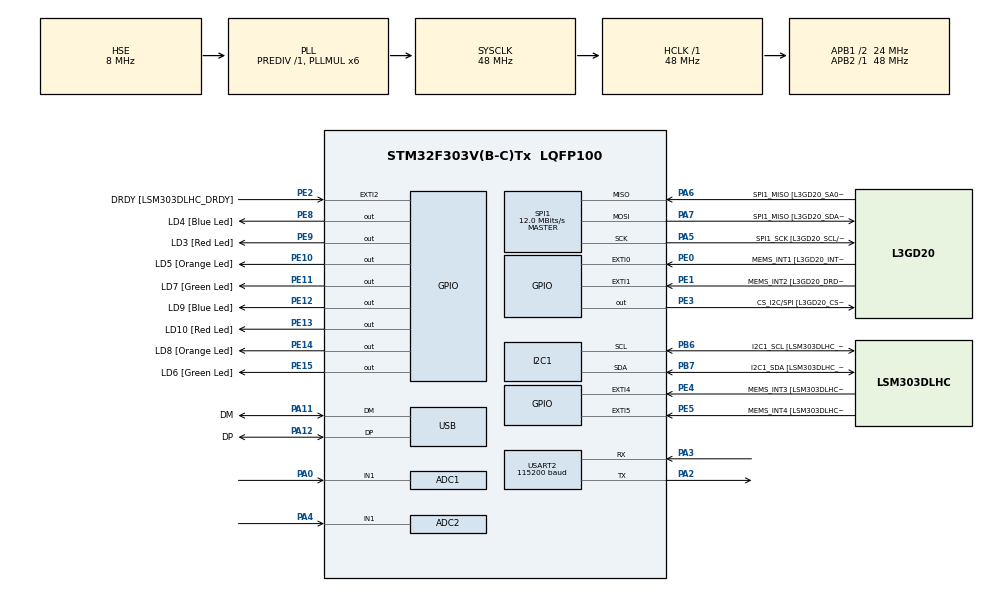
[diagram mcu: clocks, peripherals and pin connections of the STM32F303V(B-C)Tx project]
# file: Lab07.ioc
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ADC1.Channel-1\#ChannelRegularConversion=ADC_CHANNEL_1
ADC1.ContinuousConvMode=ENABLE
ADC1.NbrOfConversionFlag=1
ADC1.Offset-1\#ChannelRegularConversion=0
ADC1.OffsetNumber-1\#ChannelRegularConversion=ADC_OFFSET_NONE
ADC1.Rank-1\#ChannelRegularConversion=1
ADC1.SamplingTime-1\#ChannelRegularConversion=ADC_SAMPLETIME_601CYCLES_5
ADC1.SamplingTimeOPAMP-1\#ChannelRegularConversion=ADC_SAMPLETIME_19CYCLES_5
ADC1.master=1
ADC2.Channel-1\#ChannelRegularConversion=ADC_CHANNEL_1
ADC2.ContinuousConvMode=DISABLE
ADC2.NbrOfConversionFlag=1
ADC2.Offset-1\#ChannelRegularConversion=0
ADC2.OffsetNumber-1\#ChannelRegularConversion=ADC_OFFSET_NONE
ADC2.Rank-1\#ChannelRegularConversion=1
ADC2.SamplingTime-1\#ChannelRegularConversion=ADC_SAMPLETIME_1CYCLE_5
ADC2.SamplingTimeOPAMP-1\#ChannelRegularConversion=ADC_SAMPLETIME_19CYCLES_5
I2C1.Timing=0x00201D2B
I2C1.Timing-I2C=0x2000090E
Mcu.Family=STM32F3
Mcu.Name=STM32F303V(B-C)Tx
Mcu.Package=LQFP100
NVIC.ADC1_2_IRQn=true\:0\:0\:false\:false\:true\:true\:true\:true
NVIC.PriorityGroup=NVIC_PRIORITYGROUP_0
PA0.Mode=IN1-Single-Ended
PA0.Signal=ADC1_IN1
PA11.GPIO_Label=DM
PA11.Mode=Device
PA11.Signal=USB_DM
PA12.GPIO_Label=DP
PA12.Mode=Device
PA12.Signal=USB_DP
PA13.GPIO_Label=SWDIO
PA13.Mode=Serial_Wire
PA13.Signal=SYS_JTMS-SWDIO
PA14.GPIO_Label=SWCLK
PA14.Mode=Serial_Wire
PA14.Signal=SYS_JTCK-SWCLK
PA2.Mode=Asynchronous
PA2.Signal=USART2_TX
PA3.Mode=Asynchronous
PA3.Signal=USART2_RX
PA4.Mode=IN1-Single-Ended
PA4.Signal=ADC2_IN1
PA5.GPIO_Label=SPI1_SCK [L3GD20_SCL/SPC]
PA5.Mode=Full_Duplex_Master
PA5.Signal=SPI1_SCK
PA6.GPIO_Label=SPI1_MISO [L3GD20_SA0/SDO]
PA6.Mode=Full_Duplex_Master
PA6.Signal=SPI1_MISO
PA7.GPIO_Label=SPI1_MISO [L3GD20_SDA/SDI/SDO]
PA7.Mode=Full_Duplex_Master
PA7.Signal=SPI1_MOSI
PB3.GPIO_Label=SWO
PB3.Signal=SYS_JTDO-TRACESWO
PB6.GPIO_Label=I2C1_SCL [LSM303DLHC_SCL]
PB6.GPIO_Pu=GPIO_PULLUP
PB6.Mode=I2C
PB6.Signal=I2C1_SCL
PB7.GPIO_Label=I2C1_SDA [LSM303DLHC_SDA]
PB7.GPIO_Pu=GPIO_PULLUP
PB7.Mode=I2C
PB7.Signal=I2C1_SDA
PC14-OSC32_IN.GPIO_Label=OSC32_IN
PC14-OSC32_IN.Signal=RCC_OSC32_IN
PC15-OSC32_OUT.GPIO_Label=OSC32_OUT
PC15-OSC32_OUT.Signal=RCC_OSC32_OUT
PE0.GPIO_Label=MEMS_INT1 [L3GD20_INT1]
PE0.GPIO_ModeDefaultEXTI=GPIO_MODE_EVT_RISING
PE0.Signal=GPXTI0
PE1.GPIO_Label=MEMS_INT2 [L3GD20_DRDY/INT2]
PE1.GPIO_ModeDefaultEXTI=GPIO_MODE_EVT_RISING
PE1.Signal=GPXTI1
PE10.GPIO_Label=LD5 [Orange Led]
PE10.Signal=GPIO_Output
PE11.GPIO_Label=LD7 [Green Led]
PE11.Signal=GPIO_Output
PE12.GPIO_Label=LD9 [Blue Led]
PE12.Signal=GPIO_Output
PE13.GPIO_Label=LD10 [Red Led]
PE13.Signal=GPIO_Output
PE14.GPIO_Label=LD8 [Orange Led]
PE14.Signal=GPIO_Output
PE15.GPIO_Label=LD6 [Green Led]
PE15.Signal=GPIO_Output
PE2.GPIO_Label=DRDY [LSM303DLHC_DRDY]
PE2.GPIO_ModeDefaultEXTI=GPIO_MODE_EVT_RISING
PE2.Signal=GPXTI2
PE3.GPIO_Label=CS_I2C/SPI [L3GD20_CS_I2C/SPI]
PE3.Signal=GPIO_Output
PE4.GPIO_Label=MEMS_INT3 [LSM303DLHC_INT1]
PE4.GPIO_ModeDefaultEXTI=GPIO_MODE_EVT_RISING
PE4.Signal=GPXTI4
PE5.GPIO_Label=MEMS_INT4 [LSM303DLHC_INT2]
PE5.GPIO_ModeDefaultEXTI=GPIO_MODE_EVT_RISING
PE5.Signal=GPXTI5
PE8.GPIO_Label=LD4 [Blue Led]
PE8.Signal=GPIO_Output
PE9.GPIO_Label=LD3 [Red Led]
PE9.Signal=GPIO_Output
PF0-OSC_IN.GPIO_Label=OSC_IN
PF0-OSC_IN.Mode=HSE-External-Clock-Source
PF0-OSC_IN.Signal=RCC_OSC_IN
PF1-OSC_OUT.GPIO_Label=OSC_OUT
PF1-OSC_OUT.Signal=RCC_OSC_OUT
ProjectManager.HeapSize=0x200
ProjectManager.StackSize=0x400
ProjectManager.TargetToolchain=CMake
RCC.AHBFreq_Value=48000000
RCC.APB1CLKDivider=RCC_HCLK_DIV2
RCC.APB1Freq_Value=24000000
RCC.APB1TimFreq_Value=48000000
RCC.APB2Freq_Value=48000000
RCC.APB2TimFreq_Value=48000000
RCC.CortexFreq_Value=48000000
RCC.HCLKFreq_Value=48000000
RCC.HSE_VALUE=8000000
RCC.HSI_VALUE=8000000
RCC.LSE_VALUE=32768
RCC.PLLMUL=RCC_PLL_MUL6
RCC.SYSCLKFreq_VALUE=48000000
RCC.SYSCLKSourceVirtual=RCC_SYSCLKSOURCE_PLLCLK
RCC.USBFreq_Value=48000000
SPI1.BaudRatePrescaler=SPI_BAUDRATEPRESCALER_4
SPI1.BaudRatePrescaler-Full_Duplex_Master=SPI_BAUDRATEPRESCALER_2
SPI1.CalculateBaudRate=12.0 MBits/s
SPI1.CalculateBaudRate-Full_Duplex_Master=24.0 MBits/s
SPI1.Direction=SPI_DIRECTION_2LINES
SPI1.Mode=SPI_MODE_MASTER
SPI1.Mode-Full_Duplex_Master=SPI_MODE_MASTER
SPI1.VirtualType=VM_MASTER
STMicroelectronics.X-CUBE-ALGOBUILD.1.5.0.LibraryCcDSPOoLibraryJjDSPOoLibrary=true
USART2.BaudRate=115200
USART2.VirtualMode-Asynchronous=VM_ASYNC
VP_STMicroelectronics.X-CUBE-ALGOBUILD_VS_DSPOoLibraryJjLibrary_1.5.0_1.5.0.Mode=DSPOoLibraryJjLibrary
board=STM32F3DISCOVERY

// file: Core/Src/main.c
/* USER CODE BEGIN Header */
/**
  ******************************************************************************
  * @file           : main.c
  * @brief          : Main program body
  ******************************************************************************
  * @attention
  *
  * Copyright (c) 2026 STMicroelectronics.
  * All rights reserved.
  *
  * This software is licensed under terms that can be found in the LICENSE file
  * in the root directory of this software component.
  * If no LICENSE file comes with this software, it is provided AS-IS.
  *
  ******************************************************************************
  */
/* USER CODE END Header */
#include "main.h"

/* USER CODE BEGIN Includes */
#include <stdarg.h>
#include <stdio.h>
#include <string.h>
#include "arm_math.h"
/* USER CODE END Includes */

/* USER CODE BEGIN PD */
//task02part1 begin
#define FILTER_LEN 10
//task02part1 end
/* USER CODE END PD */

ADC_HandleTypeDef hadc1;
ADC_HandleTypeDef hadc2;

I2C_HandleTypeDef hi2c1;

SPI_HandleTypeDef hspi1;

UART_HandleTypeDef huart2;

PCD_HandleTypeDef hpcd_USB_FS;

/* USER CODE BEGIN PV */
//task03part02 begin
#define FILTER_LEN 10

float32_t inputBuffer[FILTER_LEN] = {0.0f};
float32_t filtered_output = 0.0f;
uint8_t buf_index = 0;

char uart_buf[64];

// Add these two variables for Interrupt Mode:
volatile uint8_t adc_data_ready = 0;
volatile uint32_t raw_adc_val = 0;
//task03part02 end
//task03part01 begin
// #define FILTER_LEN 10

// float32_t inputBuffer[FILTER_LEN] = {0.0f};
// float32_t filtered_output = 0.0f;
// uint8_t buf_index = 0;

char uart_buf[64];
//task03part01 end
/* USER CODE END PV */

void SystemClock_Config(void);
static void MX_GPIO_Init(void);
static void MX_ADC1_Init(void);
static void MX_I2C1_Init(void);
static void MX_SPI1_Init(void);
static void MX_USART2_UART_Init(void);
static void MX_USB_PCD_Init(void);
static void MX_ADC2_Init(void);
/* USER CODE BEGIN PFP */
//task03part02 begin
void apply_moving_average(float32_t new_sample);
//task03part02 end
/* USER CODE END PFP */

/* USER CODE BEGIN 0 */
//task03part02 begin
void apply_moving_average(float32_t new_sample) {
    // Store the new sample in the circular buffer
    inputBuffer[buf_index] = new_sample;
    buf_index = (buf_index + 1) % FILTER_LEN;

    // Calculate the mean of the 10 samples using CMSIS-DSP
    arm_mean_f32(inputBuffer, FILTER_LEN, &filtered_output);
}

void myPrintf(const char *fmt, ...) {
    char buffer[100];

    va_list args;
    va_start(args, fmt);
    vsnprintf(buffer, sizeof(buffer), fmt, args);
    va_end(args);

    HAL_UART_Transmit(&huart2, (uint8_t*)buffer, strlen(buffer), HAL_MAX_DELAY);
}
//task03part02 end
//task03part01 begin
// void apply_moving_average(float32_t new_sample) {
//     // Store the new sample in the circular buffer
//     inputBuffer[buf_index] = new_sample;
//     buf_index = (buf_index + 1) % FILTER_LEN;

//     // Calculate the mean of the 10 samples using CMSIS-DSP
//     arm_mean_f32(inputBuffer, FILTER_LEN, &filtered_output);
// }
//task03part01 end
//task02part1 begin
// float32_t inputBuffer[FILTER_LEN];   // last 10 samples (circular buffer)
// float32_t output;                    // filtered result
// uint8_t   idx = 0;                   // where the next sample goes
// volatile uint32_t adc_raw = 0;       // used only in the interrupt part
//task02part1 end
/* USER CODE END PV */

/* Private function prototypes -----------------------------------------------*/
void SystemClock_Config(void);
static void MX_GPIO_Init(void);
static void MX_ADC1_Init(void);
static void MX_I2C1_Init(void);
static void MX_SPI1_Init(void);
static void MX_USART2_UART_Init(void);
static void MX_USB_PCD_Init(void);
/* USER CODE BEGIN PFP */

/* USER CODE END PFP */

/* Private user code ---------------------------------------------------------*/
/* USER CODE BEGIN 0 */
//task01 begin
// void myPrintf(const char *fmt, ...) {
//     char buffer[100];

//     va_list args;
//     va_start(args, fmt);
//     vsnprintf(buffer, sizeof(buffer), fmt, args);
//     va_end(args);

//     HAL_UART_Transmit(&huart2, (uint8_t*)buffer, strlen(buffer), HAL_MAX_DELAY);
// }
//task01 end

//task02part1 begin
// void apply_moving_average(float32_t new_sample) {
//     inputBuffer[idx] = new_sample;          // overwrite the oldest sample
//     idx = (idx + 1) % FILTER_LEN;           // wrap 9 -> 0
//     arm_mean_f32(inputBuffer, FILTER_LEN, &output);   // average of all 10
// }
//task02part1 end
/* USER CODE END 0 */

int main(void)
{

  /* MCU Configuration--------------------------------------------------------*/

  /* Reset of all peripherals, Initializes the Flash interface and the Systick. */
  HAL_Init();

  /* Configure the system clock */
  SystemClock_Config();

  /* Initialize all configured peripherals */
  MX_GPIO_Init();
  MX_ADC1_Init();
  MX_I2C1_Init();
  MX_SPI1_Init();
  MX_USART2_UART_Init();
  MX_USB_PCD_Init();
  MX_ADC2_Init();
  /* USER CODE BEGIN 2 */
  //task03part02 begin
  // Calibrate first
  HAL_ADCEx_Calibration_Start(&hadc1, ADC_SINGLE_ENDED);

  // Start continuous conversions in Interrupt Mode
  HAL_ADC_Start_IT(&hadc1);
  //task03part02 end
  //task03part01 begin
  // HAL_ADCEx_Calibration_Start(&hadc1, ADC_SINGLE_ENDED); //calibrate the ADC before starting it
  //task03part01 end
//task02part2begin
  // HAL_ADC_Start_IT(&hadc1);
//task02part1begin
// HAL_ADC_Start(&hadc1);
//task02part1end
  /* USER CODE END 2 */

  /* Infinite loop */
  /* USER CODE BEGIN WHILE */
  while (1)
  {
    //task03part02 begin
    if (adc_data_ready) {
          adc_data_ready = 0; // Reset the flag immediately

          // 1. Convert raw 12-bit ADC value to Voltage (0.0V - 3.3V)
          float32_t raw_voltage = ((float32_t)raw_adc_val / 4095.0f) * 3.3f;

          // 2. Apply 10-point Moving Average Filter
          apply_moving_average(raw_voltage);

          // 3. Format as integer millivolts to bypass the %f printing issue
          int len = snprintf(uart_buf, sizeof(uart_buf), "%d,%d\r\n",
                             (int)(raw_voltage * 1000),
                             (int)(filtered_output * 1000));

          // 4. Transmit over UART
          HAL_UART_Transmit(&huart2, (uint8_t*)uart_buf, len, HAL_MAX_DELAY);

          // 5. Small delay to limit how fast we flood the Python script
          HAL_Delay(5);
      }
      //task03part02 end
    //task03part01 begin
    // HAL_ADC_Start(&hadc1);

    // HAL_ADC_Start(&hadc1);

    //   if (HAL_ADC_PollForConversion(&hadc1, HAL_MAX_DELAY) == HAL_OK) {
    //       uint32_t raw_adc = HAL_ADC_GetValue(&hadc1);

    //       // Convert to voltage
    //       float32_t raw_voltage = ((float32_t)raw_adc / 4095.0f) * 3.3f;

    //       // Apply CMSIS DSP filter
    //       apply_moving_average(raw_voltage);

    //       // Convert floats to integer millivolts to bypass the %f printing issue
    //       int len = snprintf(uart_buf, sizeof(uart_buf), "%d,%d\r\n",
    //                          (int)(raw_voltage * 1000),
    //                          (int)(filtered_output * 1000));

    //       HAL_UART_Transmit(&huart2, (uint8_t*)uart_buf, len, HAL_MAX_DELAY);
    //   }

    //   HAL_ADC_Stop(&hadc1);
    //   HAL_Delay(5); // ~200 Hz sampling rate
    //task03part01 end
    //task01 begin
    // HAL_ADC_Start(&hadc1);
    // HAL_ADC_PollForConversion(&hadc1, HAL_MAX_DELAY);
    // uint32_t raw = HAL_ADC_GetValue(&hadc1);
    // HAL_ADC_Stop(&hadc1);

    // uint32_t mv = raw * 3300 / 4095;
    // myPrintf("ADC = %lu, V = %lu mV\r\n", raw, mv);
    // HAL_Delay(200);
    //task01 end
//task02part2 begin

    //task02part1 begin
    // HAL_ADC_PollForConversion(&hadc1, HAL_MAX_DELAY);
    // uint32_t raw = HAL_ADC_GetValue(&hadc1);
    //task02part2 begin
// Read the latest raw conversion updated asynchronously by HAL_ADC_ConvCpltCallback
    // uint32_t current_raw = adc_raw;

    // // Convert raw counts to volts (0.0 V - 3.3 V)
    // float32_t volts = (float32_t)current_raw * 3.3f / 4095.0f;

    // // Filter using 10-point moving average
    // apply_moving_average(volts);

    // // Stream raw mV and filtered mV formatted for lab7_plot.py ("raw,filtered\r\n")
    // myPrintf("%lu,%lu\r\n", (uint32_t)(volts * 1000.0f), (uint32_t)(output * 1000.0f));

    // // Maintain stable loop period (~500 Hz sample window)
    // HAL_Delay(2);
    //task02part2 end
    // float32_t volts = raw * 3.3f / 4095.0f;      // counts -> volts
    // apply_moving_average(volts);

    // // print raw and filtered as integer millivolts: "raw,filtered"
    // myPrintf("%lu,%lu\r\n", (uint32_t)(volts * 1000.0f), (uint32_t)(output * 1000.0f));
    // HAL_Delay(2);
    //task02part1 end
    /* USER CODE END WHILE */

  }
}

void SystemClock_Config(void)
{
  RCC_OscInitTypeDef RCC_OscInitStruct = {0};
  RCC_ClkInitTypeDef RCC_ClkInitStruct = {0};
  RCC_PeriphCLKInitTypeDef PeriphClkInit = {0};

  /** Initializes the RCC Oscillators according to the specified parameters
  * in the RCC_OscInitTypeDef structure.
  */
  RCC_OscInitStruct.OscillatorType = RCC_OSCILLATORTYPE_HSI|RCC_OSCILLATORTYPE_HSE;
  RCC_OscInitStruct.HSEState = RCC_HSE_BYPASS;
  RCC_OscInitStruct.HSEPredivValue = RCC_HSE_PREDIV_DIV1;
  RCC_OscInitStruct.HSIState = RCC_HSI_ON;
  RCC_OscInitStruct.HSICalibrationValue = RCC_HSICALIBRATION_DEFAULT;
  RCC_OscInitStruct.PLL.PLLState = RCC_PLL_ON;
  RCC_OscInitStruct.PLL.PLLSource = RCC_PLLSOURCE_HSE;
  RCC_OscInitStruct.PLL.PLLMUL = RCC_PLL_MUL6;
  if (HAL_RCC_OscConfig(&RCC_OscInitStruct) != HAL_OK)
  {
    Error_Handler();
  }

  /** Initializes the CPU, AHB and APB buses clocks
  */
  RCC_ClkInitStruct.ClockType = RCC_CLOCKTYPE_HCLK|RCC_CLOCKTYPE_SYSCLK
                              |RCC_CLOCKTYPE_PCLK1|RCC_CLOCKTYPE_PCLK2;
  RCC_ClkInitStruct.SYSCLKSource = RCC_SYSCLKSOURCE_PLLCLK;
  RCC_ClkInitStruct.AHBCLKDivider = RCC_SYSCLK_DIV1;
  RCC_ClkInitStruct.APB1CLKDivider = RCC_HCLK_DIV2;
  RCC_ClkInitStruct.APB2CLKDivider = RCC_HCLK_DIV1;

  if (HAL_RCC_ClockConfig(&RCC_ClkInitStruct, FLASH_LATENCY_1) != HAL_OK)
  {
    Error_Handler();
  }
  PeriphClkInit.PeriphClockSelection = RCC_PERIPHCLK_USB|RCC_PERIPHCLK_USART2
                              |RCC_PERIPHCLK_I2C1|RCC_PERIPHCLK_ADC12;
  PeriphClkInit.Usart2ClockSelection = RCC_USART2CLKSOURCE_PCLK1;
  PeriphClkInit.Adc12ClockSelection = RCC_ADC12PLLCLK_DIV1;
  PeriphClkInit.I2c1ClockSelection = RCC_I2C1CLKSOURCE_HSI;
  PeriphClkInit.USBClockSelection = RCC_USBCLKSOURCE_PLL;
  if (HAL_RCCEx_PeriphCLKConfig(&PeriphClkInit) != HAL_OK)
  {
    Error_Handler();
  }
}

static void MX_ADC1_Init(void)
{

  ADC_MultiModeTypeDef multimode = {0};
  ADC_ChannelConfTypeDef sConfig = {0};

  /** Common config
  */
  hadc1.Instance = ADC1;
  hadc1.Init.ClockPrescaler = ADC_CLOCK_ASYNC_DIV1;
  hadc1.Init.Resolution = ADC_RESOLUTION_12B;
  hadc1.Init.ScanConvMode = ADC_SCAN_DISABLE;
  hadc1.Init.ContinuousConvMode = ENABLE;
  hadc1.Init.DiscontinuousConvMode = DISABLE;
  hadc1.Init.ExternalTrigConvEdge = ADC_EXTERNALTRIGCONVEDGE_NONE;
  hadc1.Init.ExternalTrigConv = ADC_SOFTWARE_START;
  hadc1.Init.DataAlign = ADC_DATAALIGN_RIGHT;
  hadc1.Init.NbrOfConversion = 1;
  hadc1.Init.DMAContinuousRequests = DISABLE;
  hadc1.Init.EOCSelection = ADC_EOC_SINGLE_CONV;
  hadc1.Init.LowPowerAutoWait = DISABLE;
  hadc1.Init.Overrun = ADC_OVR_DATA_OVERWRITTEN;
  if (HAL_ADC_Init(&hadc1) != HAL_OK)
  {
    Error_Handler();
  }

  /** Configure the ADC multi-mode
  */
  multimode.Mode = ADC_MODE_INDEPENDENT;
  if (HAL_ADCEx_MultiModeConfigChannel(&hadc1, &multimode) != HAL_OK)
  {
    Error_Handler();
  }

  /** Configure Regular Channel
  */
  sConfig.Channel = ADC_CHANNEL_1;
  sConfig.Rank = ADC_REGULAR_RANK_1;
  sConfig.SingleDiff = ADC_SINGLE_ENDED;
  sConfig.SamplingTime = ADC_SAMPLETIME_601CYCLES_5;
  sConfig.OffsetNumber = ADC_OFFSET_NONE;
  sConfig.Offset = 0;
  if (HAL_ADC_ConfigChannel(&hadc1, &sConfig) != HAL_OK)
  {
    Error_Handler();
  }

}

static void MX_ADC2_Init(void)
{

  ADC_ChannelConfTypeDef sConfig = {0};

  /** Common config
  */
  hadc2.Instance = ADC2;
  hadc2.Init.ClockPrescaler = ADC_CLOCK_ASYNC_DIV1;
  hadc2.Init.Resolution = ADC_RESOLUTION_12B;
  hadc2.Init.ScanConvMode = ADC_SCAN_DISABLE;
  hadc2.Init.ContinuousConvMode = DISABLE;
  hadc2.Init.DiscontinuousConvMode = DISABLE;
  hadc2.Init.ExternalTrigConvEdge = ADC_EXTERNALTRIGCONVEDGE_NONE;
  hadc2.Init.ExternalTrigConv = ADC_SOFTWARE_START;
  hadc2.Init.DataAlign = ADC_DATAALIGN_RIGHT;
  hadc2.Init.NbrOfConversion = 1;
  hadc2.Init.DMAContinuousRequests = DISABLE;
  hadc2.Init.EOCSelection = ADC_EOC_SINGLE_CONV;
  hadc2.Init.LowPowerAutoWait = DISABLE;
  hadc2.Init.Overrun = ADC_OVR_DATA_OVERWRITTEN;
  if (HAL_ADC_Init(&hadc2) != HAL_OK)
  {
    Error_Handler();
  }

  /** Configure Regular Channel
  */
  sConfig.Channel = ADC_CHANNEL_1;
  sConfig.Rank = ADC_REGULAR_RANK_1;
  sConfig.SingleDiff = ADC_SINGLE_ENDED;
  sConfig.SamplingTime = ADC_SAMPLETIME_1CYCLE_5;
  sConfig.OffsetNumber = ADC_OFFSET_NONE;
  sConfig.Offset = 0;
  if (HAL_ADC_ConfigChannel(&hadc2, &sConfig) != HAL_OK)
  {
    Error_Handler();
  }

}

static void MX_I2C1_Init(void)
{

  hi2c1.Instance = I2C1;
  hi2c1.Init.Timing = 0x00201D2B;
  hi2c1.Init.OwnAddress1 = 0;
  hi2c1.Init.AddressingMode = I2C_ADDRESSINGMODE_7BIT;
  hi2c1.Init.DualAddressMode = I2C_DUALADDRESS_DISABLE;
  hi2c1.Init.OwnAddress2 = 0;
  hi2c1.Init.OwnAddress2Masks = I2C_OA2_NOMASK;
  hi2c1.Init.GeneralCallMode = I2C_GENERALCALL_DISABLE;
  hi2c1.Init.NoStretchMode = I2C_NOSTRETCH_DISABLE;
  if (HAL_I2C_Init(&hi2c1) != HAL_OK)
  {
    Error_Handler();
  }

  /** Configure Analogue filter
  */
  if (HAL_I2CEx_ConfigAnalogFilter(&hi2c1, I2C_ANALOGFILTER_ENABLE) != HAL_OK)
  {
    Error_Handler();
  }

  /** Configure Digital filter
  */
  if (HAL_I2CEx_ConfigDigitalFilter(&hi2c1, 0) != HAL_OK)
  {
    Error_Handler();
  }

}

static void MX_SPI1_Init(void)
{

  /* SPI1 parameter configuration*/
  hspi1.Instance = SPI1;
  hspi1.Init.Mode = SPI_MODE_MASTER;
  hspi1.Init.Direction = SPI_DIRECTION_2LINES;
  hspi1.Init.DataSize = SPI_DATASIZE_4BIT;
  hspi1.Init.CLKPolarity = SPI_POLARITY_LOW;
  hspi1.Init.CLKPhase = SPI_PHASE_1EDGE;
  hspi1.Init.NSS = SPI_NSS_SOFT;
  hspi1.Init.BaudRatePrescaler = SPI_BAUDRATEPRESCALER_4;
  hspi1.Init.FirstBit = SPI_FIRSTBIT_MSB;
  hspi1.Init.TIMode = SPI_TIMODE_DISABLE;
  hspi1.Init.CRCCalculation = SPI_CRCCALCULATION_DISABLE;
  hspi1.Init.CRCPolynomial = 7;
  hspi1.Init.CRCLength = SPI_CRC_LENGTH_DATASIZE;
  hspi1.Init.NSSPMode = SPI_NSS_PULSE_ENABLE;
  if (HAL_SPI_Init(&hspi1) != HAL_OK)
  {
    Error_Handler();
  }

}

static void MX_USART2_UART_Init(void)
{

  huart2.Instance = USART2;
  huart2.Init.BaudRate = 115200;
  huart2.Init.WordLength = UART_WORDLENGTH_8B;
  huart2.Init.StopBits = UART_STOPBITS_1;
  huart2.Init.Parity = UART_PARITY_NONE;
  huart2.Init.Mode = UART_MODE_TX_RX;
  huart2.Init.HwFlowCtl = UART_HWCONTROL_NONE;
  huart2.Init.OverSampling = UART_OVERSAMPLING_16;
  huart2.Init.OneBitSampling = UART_ONE_BIT_SAMPLE_DISABLE;
  huart2.AdvancedInit.AdvFeatureInit = UART_ADVFEATURE_NO_INIT;
  if (HAL_UART_Init(&huart2) != HAL_OK)
  {
    Error_Handler();
  }

}

static void MX_USB_PCD_Init(void)
{

  hpcd_USB_FS.Instance = USB;
  hpcd_USB_FS.Init.dev_endpoints = 8;
  hpcd_USB_FS.Init.speed = PCD_SPEED_FULL;
  hpcd_USB_FS.Init.phy_itface = PCD_PHY_EMBEDDED;
  hpcd_USB_FS.Init.low_power_enable = DISABLE;
  hpcd_USB_FS.Init.battery_charging_enable = DISABLE;
  if (HAL_PCD_Init(&hpcd_USB_FS) != HAL_OK)
  {
    Error_Handler();
  }

}

static void MX_GPIO_Init(void)
{
  GPIO_InitTypeDef GPIO_InitStruct = {0};

  /* GPIO Ports Clock Enable */
  __HAL_RCC_GPIOE_CLK_ENABLE();
  __HAL_RCC_GPIOC_CLK_ENABLE();
  __HAL_RCC_GPIOF_CLK_ENABLE();
  __HAL_RCC_GPIOA_CLK_ENABLE();
  __HAL_RCC_GPIOB_CLK_ENABLE();

  /*Configure GPIO pin Output Level */
  HAL_GPIO_WritePin(GPIOE, CS_I2C_SPI_Pin|LD4_Pin|LD3_Pin|LD5_Pin
                          |LD7_Pin|LD9_Pin|LD10_Pin|LD8_Pin
                          |LD6_Pin, GPIO_PIN_RESET);

  /*Configure GPIO pins : DRDY_Pin MEMS_INT3_Pin MEMS_INT4_Pin MEMS_INT1_Pin
                           MEMS_INT2_Pin */
  GPIO_InitStruct.Pin = DRDY_Pin|MEMS_INT3_Pin|MEMS_INT4_Pin|MEMS_INT1_Pin
                          |MEMS_INT2_Pin;
  GPIO_InitStruct.Mode = GPIO_MODE_EVT_RISING;
  GPIO_InitStruct.Pull = GPIO_NOPULL;
  HAL_GPIO_Init(GPIOE, &GPIO_InitStruct);

  /*Configure GPIO pins : CS_I2C_SPI_Pin LD4_Pin LD3_Pin LD5_Pin
                           LD7_Pin LD9_Pin LD10_Pin LD8_Pin
                           LD6_Pin */
  GPIO_InitStruct.Pin = CS_I2C_SPI_Pin|LD4_Pin|LD3_Pin|LD5_Pin
                          |LD7_Pin|LD9_Pin|LD10_Pin|LD8_Pin
                          |LD6_Pin;
  GPIO_InitStruct.Mode = GPIO_MODE_OUTPUT_PP;
  GPIO_InitStruct.Pull = GPIO_NOPULL;
  GPIO_InitStruct.Speed = GPIO_SPEED_FREQ_LOW;
  HAL_GPIO_Init(GPIOE, &GPIO_InitStruct);

}

/* USER CODE BEGIN 4 */
//task03part02 begin
void HAL_ADC_ConvCpltCallback(ADC_HandleTypeDef *hadc) {
    // Check if the interrupt came from ADC1
    if (hadc->Instance == ADC1) {
        // Read the value fast and get out
        raw_adc_val = HAL_ADC_GetValue(hadc);

        // Signal the main loop that new data is ready
        adc_data_ready = 1;
    }
}
//task03part02 end
//task02part2begin
// void HAL_ADC_ConvCpltCallback(ADC_HandleTypeDef *hadc) {
//     if (hadc->Instance == ADC1) {
//         adc_raw = HAL_ADC_GetValue(hadc);   // just store it, never print here
//     }
// }
//task02part2end
/* USER CODE END 4 */

void Error_Handler(void)
{
  __disable_irq();
  while (1)
  {
  }
}
